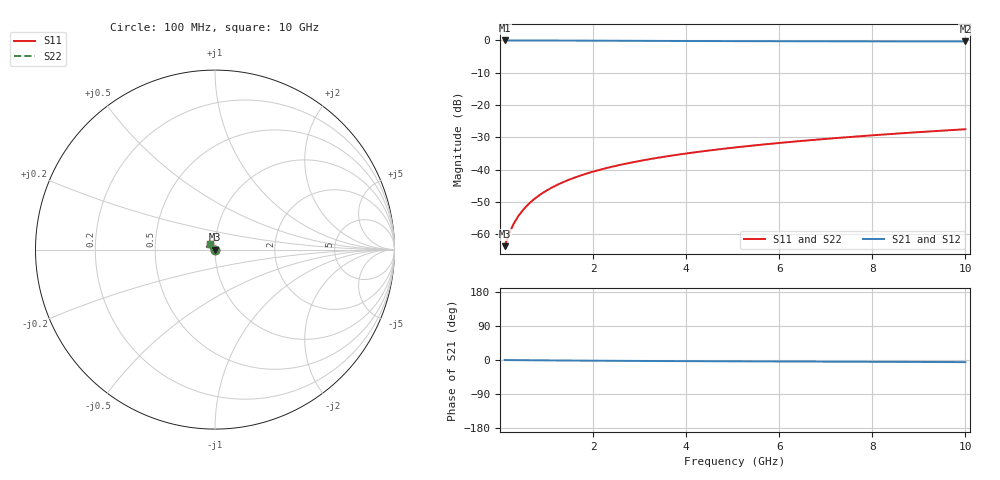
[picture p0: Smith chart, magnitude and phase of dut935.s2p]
! Touchstone file exported from HFSS 2024.1.0
!  File:  C:/UserFiles/LocalFiles/RDL_TSV_Batchsim/temp_TSV1_935_1779947583.aedt
!  Generated:  02:02:41 PM May 28, 2026
!  Design:  TSV1
!  Project:  temp_TSV1_935_1779947583
!  Setup:  Setup1
!  Solution:  Sweep
! Variables:
!  dtsv = 5.49um
!  hbump = 3um
!  htsv = 77.93um
!  lrdl = 252.1521522um
!  p = 40
!  p1 = 56.48um
!  t = 500um
!  trdl = 3um
!  wrdl = 24.89489489um
# GHz S MA R 50.000000
! Terminal data exported
! Port[1] = TSV22_T1
! Port[2] = TSV22_T2
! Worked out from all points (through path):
!   100 points, 100 MHz to 10 GHz, reference 50 ohm
!   highest |S21| = 0.00 dB at 100 MHz (marker M1); lowest = -0.3 dB at 10 GHz (marker M2)
!   lowest |S11| = -63.7 dB at 100 MHz (marker M3), VSWR 1.00, Z = 50 - j0.0492 ohm
!   |S11| at or under -10 dB: start of sweep to end of sweep
!   |S22| runs from -63.7 to -27.5 dB; largest |S21 - S12| = 8.8e-15
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0.1  0.0006545 -48.6  0.9995 -0.1  0.9995 -0.1  0.0006545 -48.6
! Gamma 0 0 0 0
! Port Impedance 50 0 50 0
0.2  0.001043 -69.9  0.9994 -0.2  0.9994 -0.2  0.001043 -69.9
0.3  0.001481 -80.8  0.9993 -0.3  0.9993 -0.3  0.001481 -80.8
0.4  0.001936 -87.9  0.9991 -0.4  0.9991 -0.4  0.001936 -87.9
0.5  0.002399 -93.4  0.9989 -0.5  0.9989 -0.5  0.002399 -93.4
0.6  0.002866 -97.9  0.9986 -0.6  0.9986 -0.6  0.002866 -97.9
0.7  0.003336 -101.9  0.9983 -0.7  0.9983 -0.7  0.003336 -101.9
0.9  0.004275 -109.0  0.9976 -0.9  0.9976 -0.9  0.004275 -109.0
1  0.004744 -112.2  0.9972 -1.0  0.9972 -1.0  0.004744 -112.2
1.2  0.005676 -118.3  0.9963 -1.2  0.9963 -1.2  0.005676 -118.2
1.5  0.007058 -126.6  0.9947 -1.4  0.9947 -1.4  0.007058 -126.6
1.8  0.008417 -134.3  0.993 -1.7  0.993 -1.7  0.008417 -134.3
2.1  0.009753 -141.5  0.9912 -1.9  0.9912 -1.9  0.009753 -141.5
2.5  0.0115 -150.4  0.9888 -2.2  0.9888 -2.2  0.0115 -150.4
2.9  0.01321 -158.5  0.9864 -2.4  0.9864 -2.4  0.01321 -158.5
3.4  0.01531 -167.6  0.9836 -2.7  0.9836 -2.7  0.01531 -167.6
4.2  0.0186 179.9  0.9795 -3.1  0.9795 -3.1  0.0186 179.9
5.1  0.02226 168.3  0.9758 -3.5  0.9758 -3.5  0.02226 168.3
5.9  0.02548 159.8  0.9732 -3.8  0.9732 -3.8  0.02548 159.8
6.7  0.02871 152.7  0.971 -4.2  0.971 -4.2  0.02871 152.7
8.4  0.03562 140.8  0.9675 -4.9  0.9675 -4.9  0.03562 140.8
10  0.04222 132.5  0.9651 -5.5  0.9651 -5.5  0.04222 132.5
